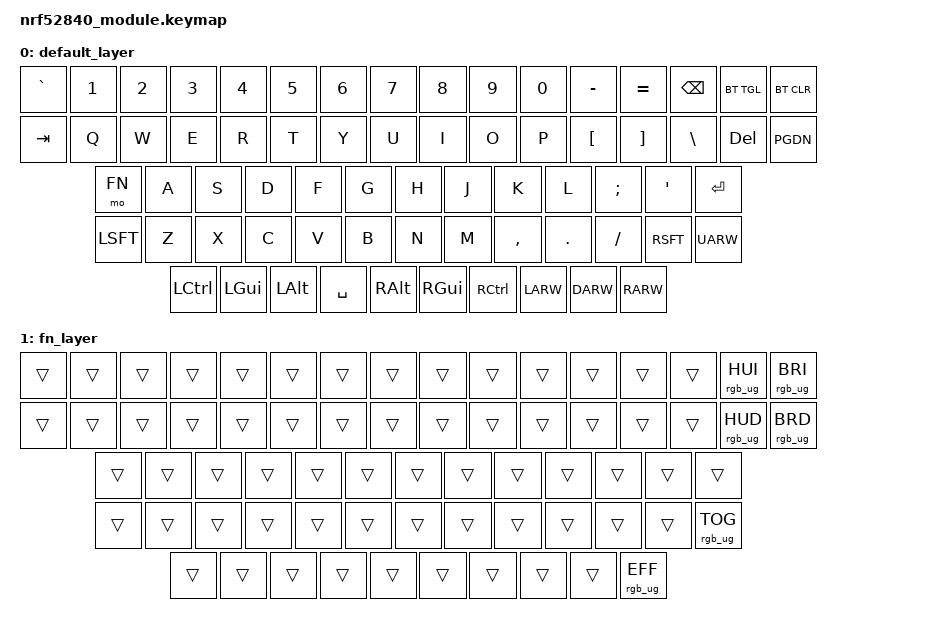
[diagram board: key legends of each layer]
#include <behaviors.dtsi>
#include <dt-bindings/zmk/keys.h>
#include <dt-bindings/zmk/rgb.h>
#include <dt-bindings/zmk/bt.h>

#define DEFAULT 0
#define FN    1

#define NONE 0

/ {
	keymap {
		compatible = "zmk,keymap";

		default_layer {
// -----------------------------------------------------------------------------------------
// | ` |  1   |  2   |  3   |  4   |  5   |   6   |  7    |  8   |  9   |   0   | -  |  =   |  DEL  |          |  BT_TGL |  BT_CLR |
// | TAB |  Q   |  W   |  E   |  R   |  T   |   Y   |  U   |  I   |  O   |   P   |  [  |  ]  |  \   |          |   DEL   |  PgDn   |
// | FN    |  A   |  S   |  D   |  F   |  G   |   H   |  J    |  K   |  L   |   ;   |  '  |   RET   |
// | LShift  |   Z   |   X   |   C  |   V   |   B   |   N   |   M   |   ,  |  .  |  /  |   RSHIFT   |          |   UARW  |
// | LCTL |  LGUI  |  LALT  |               SPACE                     |  RALT  |  FN  |  RCTL  |       |  LARW |   DARW  |  RARW   |
			bindings = <
	&kp GRAV		&kp NUM_1		&kp NUM_2		&kp NUM_3		&kp NUM_4		&kp NUM_5		&kp NUM_6		&kp NUM_7		&kp NUM_8		&kp NUM_9		&kp NUM_0		&kp MINUS		&kp EQL				&kp BKSP						&bt BT_TGL &bt BT_CLR
	&kp TAB				&kp Q				&kp W				&kp E				&kp R				&kp T				&kp Y				&kp U				&kp I				&kp O				&kp P				&kp LBKT		&kp RBKT		&kp BSLH						&kp DEL &kp PGDN
	&mo FN					&kp A				&kp S				&kp D				&kp F				&kp G				&kp H				&kp J				&kp K				&kp L				&kp SCLN		&kp QUOT							&kp RET
	&kp LSFT					&kp Z				&kp X				&kp C				&kp V				&kp B				&kp N				&kp M				&kp CMMA		&kp DOT			&kp FSLH												&kp RSFT						&kp UARW
	&kp LCTL		&kp LGUI		&kp LALT																	&kp SPC																		&kp RALT						&kp RGUI					&kp RCTL							 &kp LARW &kp DARW &kp RARW
			>;
		};

		fn_layer {
// -----------------------------------------------------------------------------------------
// |   |      |      |      |      |      |       |       |      |      |       |    |      |       |          | RGB_HUI | RGB_BRI |
// |     |      |      |      |      |      |       |      |      |      |       |     |     |      |          | RGB_HUD | RGB_BRD |
// |       |      |      |      |      |      |       |       |      |      |       |     |         |
// |         |       |       |      |       |       |       |       |      |     |     |            |          | RGB_TGL |
// |      |        |        |                                         |        |      |        |       |       |         | RGB_EFF |
			bindings = <
	&trans		&trans		&trans		&trans		&trans		&trans		&trans		&trans		&trans		&trans		&trans		&trans		&trans				&trans						&rgb_ug RGB_HUI &rgb_ug RGB_BRI
	&trans			&trans		&trans		&trans		&trans		&trans		&trans		&trans		&trans		&trans		&trans			&trans		&trans		&trans						&rgb_ug RGB_HUD &rgb_ug RGB_BRD
	&trans				&trans		&trans		&trans		&trans		&trans		&trans		&trans		&trans		&trans		&trans		&trans							&trans
	&trans					&trans		&trans		&trans		&trans		&trans		&trans		&trans		&trans		&trans		&trans											&trans						&rgb_ug RGB_TOG
	&trans		&trans		&trans														&trans																&trans					&trans					&trans							 &trans &trans &rgb_ug RGB_EFF
			>;
		};


	};
};
